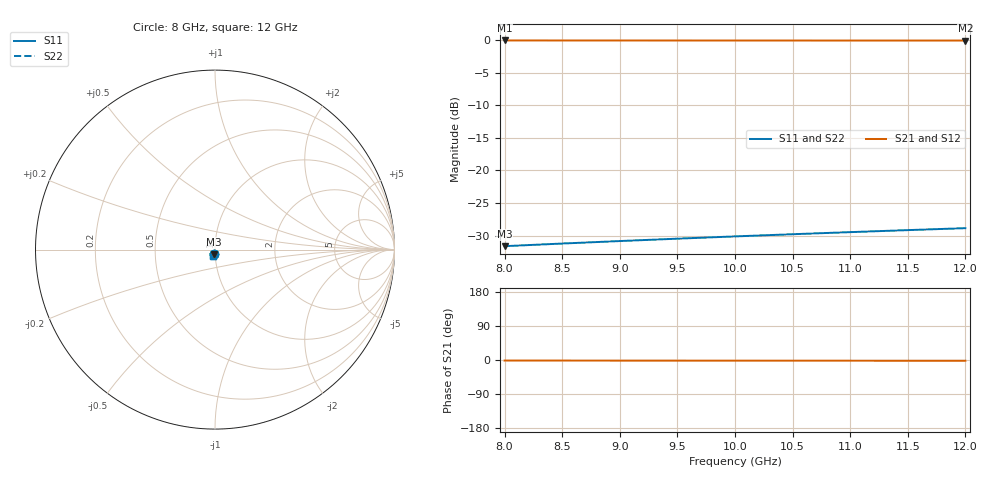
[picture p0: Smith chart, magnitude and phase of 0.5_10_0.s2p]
! Created Mon Oct 19 10:25:42 2020
# ghz S db R 50
! 2 Port Network Data from SP1.SP block
! freq  dbS11  angS11  dbS21  angS21  dbS12  angS12  dbS22  angS22
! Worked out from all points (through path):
!   9 points, 8 GHz to 12 GHz, reference 50 ohm
!   highest |S21| = -0.06 dB at 8 GHz (marker M1); lowest = -0.1 dB at 12 GHz (marker M2)
!   lowest |S11| = -31.6 dB at 8 GHz (marker M3), VSWR 1.05, Z = 49.2 - j2.48 ohm
!   |S11| at or under -10 dB: start of sweep to end of sweep
!   |S22| runs from -31.6 to -28.9 dB; largest |S21 - S12| = 0
8  -31.62 -106.3  -0.06 -1.5  -0.06 -1.5  -31.62 -106.3
8.5  -31.22 -106.2  -0.06 -1.5  -0.06 -1.5  -31.22 -106.2
9  -30.84 -106.2  -0.07 -1.6  -0.07 -1.6  -30.84 -106.2
9.5  -30.47 -106.1  -0.07 -1.7  -0.07 -1.7  -30.47 -106.1
10  -30.13 -105.9  -0.07 -1.7  -0.07 -1.7  -30.13 -105.9
10.5  -29.79 -105.8  -0.07 -1.8  -0.07 -1.8  -29.79 -105.8
11  -29.47 -105.7  -0.07 -1.9  -0.07 -1.9  -29.47 -105.7
11.5  -29.16 -105.5  -0.08 -1.9  -0.08 -1.9  -29.16 -105.5
12  -28.86 -105.4  -0.08 -2.0  -0.08 -2.0  -28.86 -105.4
